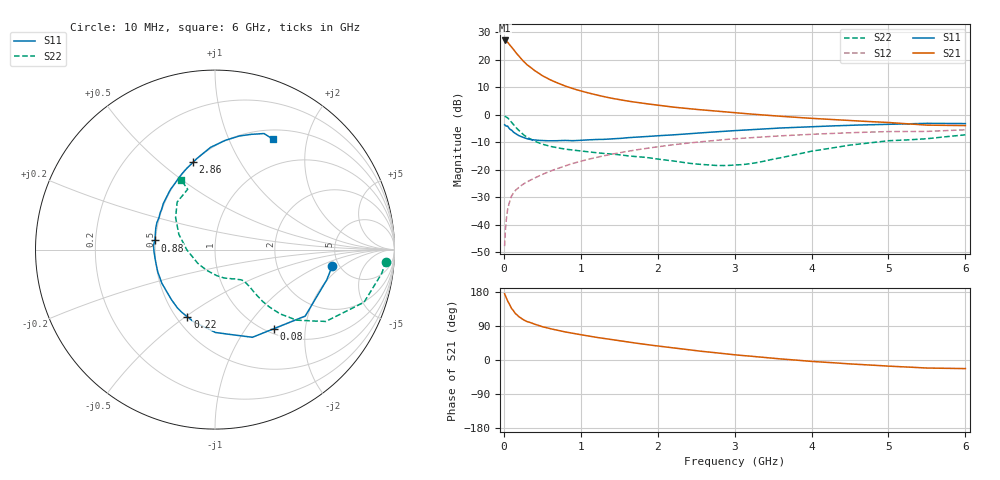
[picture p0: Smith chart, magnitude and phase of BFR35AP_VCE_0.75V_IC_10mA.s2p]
! Infineon Technologies  Discrete & RF Semiconductors
! BFR35AP
! VCE = 0.75 V,  IC =  10 mA
! Common Emitter S-Parameters:  Nov 2015
# GHz  S  MA  R  50
!  f  S11  S21  S12  S22
! GHz  MAG  ANG  MAG  ANG  MAG  ANG  MAG  ANG
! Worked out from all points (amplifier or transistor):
!   210 points, 10 MHz to 6 GHz, reference 50 ohm
!   highest |S21| = 27.1 dB at 10 MHz (marker M1)
!   |S21| within 3 dB of that: start of sweep to 118 MHz
!   unconditionally stable (mu >= 1): 435.1 MHz to end of sweep
!   at 185 MHz: K = 0.62, MSG = 24.1 dB, |S12| = -26.6 dB
!   at 1.52 GHz: K = 1.20, MAG = 6.9 dB, |S12| = -13.7 dB
!   at 6 GHz: K = 1.06, MAG = -0.7 dB, |S12| = -5.4 dB
!   S11 on the Smith chart (normalised r, x): 10 MHz: 4.40, -1.41; 80 MHz: 1.08, -1.36; 220 MHz: 0.57, -0.51; 880 MHz: 0.50, +0.06; 2.86 GHz: 0.50, +0.65; 6 GHz: 0.62, +1.47
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0.01  0.6598 -7.9  22.55 174.8  0.0041 84.5  0.9546 -4.0
0.02  0.6453 -15.1  22.28 169.4  0.0079 82.6  0.938 -8.2
0.05  0.6244 -36.4  20.88 155.1  0.0193 73.5  0.8806 -19.5
0.08  0.5488 -53.5  18.46 144.6  0.0277 65.7  0.7882 -27.0
0.1  0.5312 -66.9  17.27 136.1  0.0335 62.7  0.7356 -33.0
0.15  0.462 -89.6  13.91 122.5  0.0423 57.7  0.6017 -40.8
0.2  0.418 -107.0  11.45 113.6  0.0489 56.0  0.5109 -44.6
0.22  0.4047 -112.3  10.68 111.1  0.0513 55.7  0.4832 -45.3
0.26  0.3864 -122.9  9.296 105.6  0.0559 55.5  0.4319 -46.7
0.3  0.3692 -131.3  8.203 101.6  0.0602 56.2  0.3925 -47.4
0.4  0.3506 -147.5  6.387 94.3  0.0711 57.8  0.3318 -47.5
0.5  0.342 -159.1  5.169 87.9  0.0825 58.7  0.2933 -47.1
0.6  0.3379 -168.8  4.36 82.7  0.0943 59.6  0.2682 -46.9
0.88  0.3396 171.4  3.057 71.1  0.1288 59.8  0.2304 -48.2
1.02  0.3461 163.5  2.678 66.1  0.1459 59.3  0.2194 -49.9
1.4  0.3678 146.4  2.008 53.9  0.1923 56.1  0.1938 -57.5
2.02  0.419 125.6  1.484 36.5  0.2655 48.7  0.156 -77.5
2.86  0.5015 104.1  1.137 16.8  0.3546 37.1  0.1199 -130.8
3.1  0.5267 99.4  1.066 12.0  0.3758 33.4  0.1246 -151.0
4.1  0.6182 83.2  0.849 -4.9  0.4501 19.3  0.2297 153.2
5.1  0.6786 71.4  0.711 -17.1  0.4972 5.9  0.3429 125.5
6  0.6946 62.2  0.639 -22.7  0.5353 -3.4  0.4339 115.9
